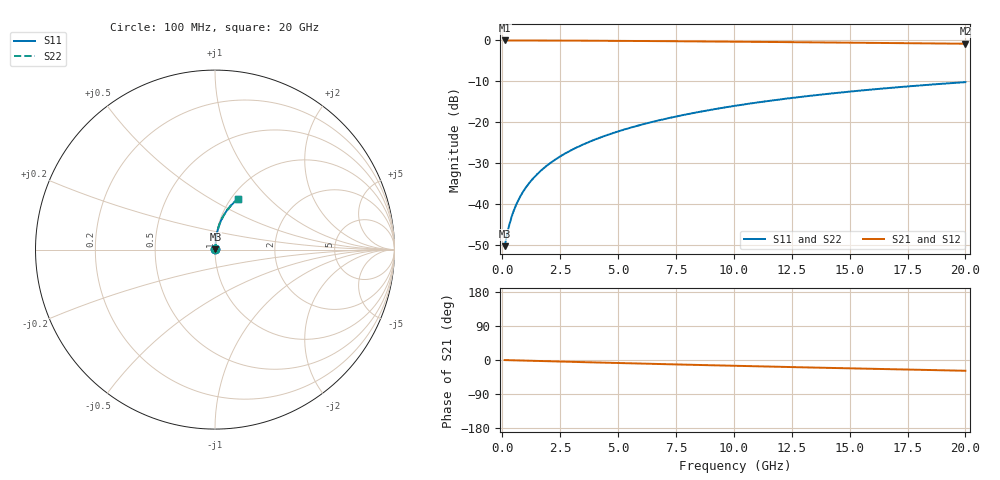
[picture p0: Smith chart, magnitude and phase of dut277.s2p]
! Touchstone file exported from HFSS 2024.1.0
!  File:  C:/UserFiles/LocalFiles/RDL_TSV_Batchsim/temp_RDL_top_277_1778689870.aedt
!  Generated:  12:34:04 AM May 14, 2026
!  Design:  RDL_top
!  Project:  temp_RDL_top_277_1778689870
!  Setup:  Setup1
!  Solution:  Sweep
! Variables:
!  dtsv = 10.80580581um
!  hbump = 3um
!  htsv = 54.23um
!  ldown = 100um
!  lrdl = 372.03um
!  p = 40
!  p1 = 45.49um
!  rhole = 1um
!  t = 450um
!  tdown = 3.915915916um
!  trdl = 3.16um
!  wdown = 15.38538539um
!  wrdl = 17.57um
# GHz S MA R 50.000000
! Terminal data exported
! Port[1] = Box2_T1
! Port[2] = Box2_T2
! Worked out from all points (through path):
!   200 points, 100 MHz to 20 GHz, reference 50 ohm
!   highest |S21| = -0.02 dB at 100 MHz (marker M1); lowest = -0.8 dB at 20 GHz (marker M2)
!   group delay of S21, straight-line fit = 3.92 ps
!   lowest |S11| = -50.4 dB at 100 MHz (marker M3), VSWR 1.01, Z = 50.3 + j0.163 ohm
!   |S11| at or under -10 dB: start of sweep to end of sweep
!   |S22| runs from -50.4 to -10.2 dB; largest |S21 - S12| = 3.3e-15
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0.1  0.003034 32.3  0.9974 -0.2  0.9974 -0.2  0.003034 32.3
! Gamma 0 0 0 0
! Port Impedance 50 0 50 0
0.2  0.004157 50.7  0.9974 -0.3  0.9974 -0.3  0.004157 50.7
0.3  0.005495 60.3  0.9972 -0.5  0.9972 -0.5  0.005496 60.3
0.4  0.006898 65.9  0.9971 -0.7  0.9971 -0.7  0.006898 65.9
0.5  0.008322 69.6  0.997 -0.8  0.997 -0.8  0.008323 69.6
0.6  0.009757 72.3  0.9969 -1.0  0.9969 -1.0  0.009757 72.3
0.8  0.01265 75.8  0.9967 -1.3  0.9967 -1.3  0.01265 75.8
1.1  0.01704 79.0  0.9963 -1.8  0.9963 -1.8  0.01704 79.0
1.3  0.01999 80.3  0.9961 -2.1  0.9961 -2.1  0.01999 80.3
1.6  0.02445 81.7  0.9957 -2.6  0.9957 -2.6  0.02445 81.7
2.1  0.03196 83.0  0.9948 -3.4  0.9948 -3.4  0.03196 83.0
2.7  0.04107 83.8  0.9935 -4.4  0.9935 -4.4  0.04107 83.8
3.5  0.05338 84.2  0.9914 -5.6  0.9914 -5.6  0.05338 84.2
4.2  0.06428 84.1  0.9891 -6.7  0.9891 -6.7  0.06428 84.1
5  0.07688 83.8  0.9863 -8.0  0.9863 -8.0  0.07688 83.8
5.9  0.09122 83.2  0.9827 -9.3  0.9827 -9.3  0.09122 83.2
6.8  0.1057 82.4  0.9789 -10.7  0.9789 -10.7  0.1057 82.4
8.4  0.1316 80.8  0.9715 -13.0  0.9715 -13.0  0.1316 80.8
10.1  0.1591 78.7  0.9632 -15.4  0.9632 -15.4  0.1591 78.7
13.4  0.2114 74.5  0.9462 -19.9  0.9462 -19.9  0.2114 74.5
16.7  0.2614 70.1  0.9282 -24.2  0.9282 -24.2  0.2614 70.1
20  0.3084 65.7  0.9095 -28.4  0.9095 -28.4  0.3084 65.7
